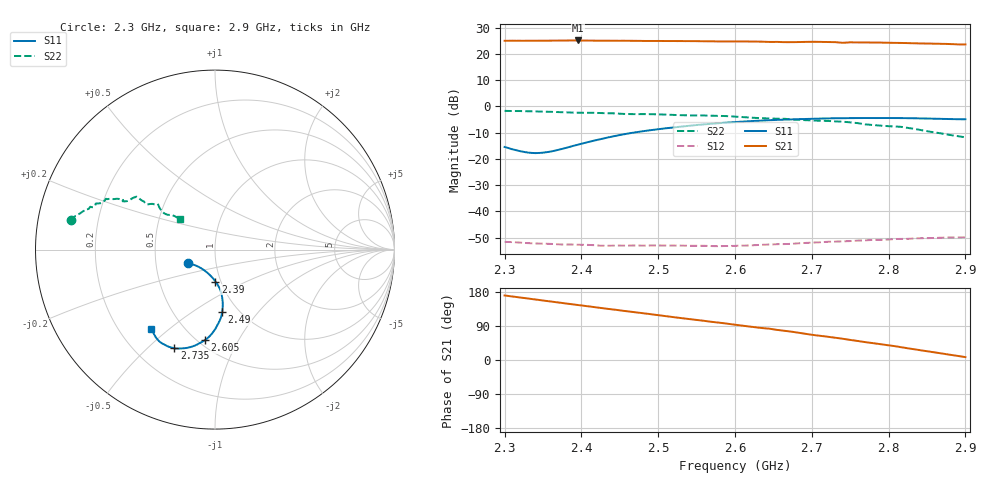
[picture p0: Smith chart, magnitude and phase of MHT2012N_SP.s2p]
!Copyright - 2018 NXP B.V.
! 10/30/2018
! Rev. 0
! MHT2012N S-Parameters
! Vdd = 28 Vdc, IDQ1 = 12 mA IDQ2 = 72 mA
# hz S ma R 50
! freq  magS11  angS11  magS21  angS21  magS12  angS12  magS22  angS22
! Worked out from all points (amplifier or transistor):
!   121 points, 2.3 GHz to 2.9 GHz, reference 50 ohm
!   highest |S21| = 25.1 dB at 2.395 GHz (marker M1)
!   |S21| within 3 dB of that: start of sweep to end of sweep
!   unconditionally stable (mu >= 1): start of sweep to end of sweep
!   at 2.4 GHz: K = 5.10, MAG = 28.8 dB, |S12| = -52.7 dB
!   at 2.6 GHz: K = 6.07, MAG = 28.1 dB, |S12| = -53.1 dB
!   at 2.9 GHz: K = 6.55, MAG = 25.6 dB, |S12| = -49.8 dB
!   S11 on the Smith chart (normalised r, x): 2.3 GHz: 0.73, -0.11; 2.39 GHz: 0.94, -0.35; 2.49 GHz: 0.84, -0.67; 2.605 GHz: 0.54, -0.74; 2.735 GHz: 0.36, -0.61; 2.9 GHz: 0.33, -0.43
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2.3e9  0.1687 -154.1  17.72 170.3  0.002637 84.3  0.8215 168.5
2.35e9  0.1315 -114.4  17.81 157.0  0.002436 84.4  0.7933 166.2
2.39e9  0.1778 -89.2  17.95 146.5  0.002338 86.8  0.7616 163.5
2.395e9  0.1859 -87.3  17.98 145.2  0.002324 87.1  0.7583 163.3
2.4e9  0.1941 -86.1  17.92 143.9  0.002319 87.3  0.7568 163.1
2.455e9  0.2937 -81.6  17.75 129.7  0.002238 92.0  0.7185 160.8
2.49e9  0.352 -83.5  17.59 121.0  0.002253 93.3  0.7106 158.8
2.5e9  0.3674 -84.3  17.59 118.3  0.002246 93.7  0.704 158.6
2.55e9  0.4413 -89.7  17.44 105.7  0.002219 96.5  0.6713 155.6
2.6e9  0.5023 -95.7  17.19 93.1  0.002213 101.9  0.6385 153.8
2.605e9  0.5078 -96.4  17.19 91.8  0.002228 102.6  0.6315 153.6
2.625e9  0.5277 -99.2  17.16 86.8  0.002278 103.7  0.6056 152.2
2.645e9  0.5457 -101.7  16.85 82.6  0.002349 106.1  0.588 152.0
2.675e9  0.5664 -105.3  16.71 74.4  0.002427 107.1  0.5632 151.4
2.7e9  0.5798 -108.4  16.95 66.6  0.002552 106.8  0.5404 147.8
2.73e9  0.5938 -111.9  16.72 58.9  0.002665 108.1  0.5182 146.1
2.735e9  0.5944 -112.5  16.47 57.5  0.002678 107.8  0.5146 146.0
2.77e9  0.6002 -116.2  16.47 47.1  0.002817 107.6  0.454 146.5
2.8e9  0.5999 -119.7  16.25 38.7  0.002928 108.2  0.4197 143.1
2.825e9  0.5959 -122.2  16.01 30.9  0.003008 107.0  0.3893 142.8
2.855e9  0.585 -125.0  15.67 21.6  0.003115 105.4  0.3277 143.7
2.9e9  0.5681 -129.2  15.11 7.6  0.003222 104.9  0.2574 139.1
